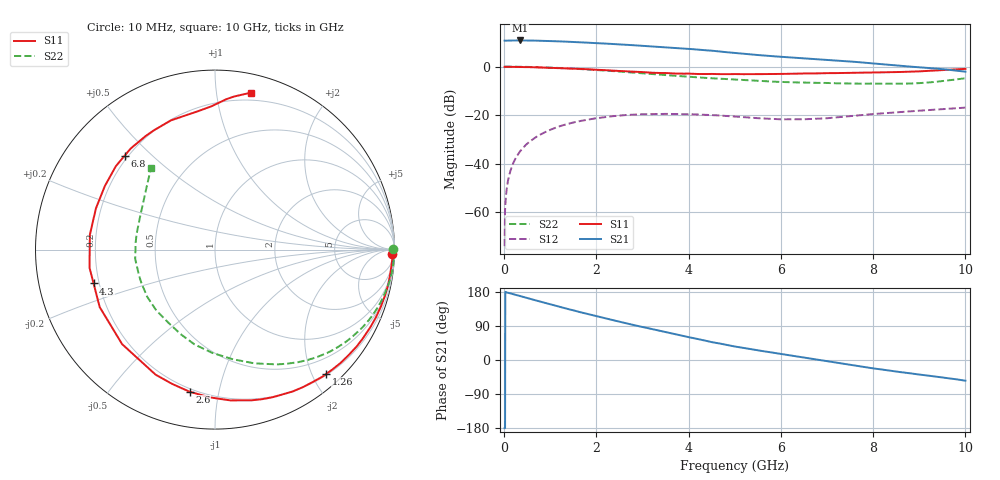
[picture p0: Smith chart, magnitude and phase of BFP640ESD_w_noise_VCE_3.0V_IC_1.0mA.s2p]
! Infineon Technologies  Discrete & RF Semiconductors
! BFP640ESD
! VCE =  3.0 V,  IC =  1.0 mA
! Common Emitter S-Parameters:  Jan 2016
# GHz  S  MA  R  50
!  f  S11  S21  S12  S22
! GHz  MAG  ANG  MAG  ANG  MAG  ANG  MAG  ANG
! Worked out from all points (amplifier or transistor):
!   233 points, 10 MHz to 10 GHz, reference 50 ohm
!   highest |S21| = 10.8 dB at 340 MHz (marker M1)
!   |S21| within 3 dB of that: start of sweep to 3.627 GHz
!   unconditionally stable (mu >= 1): 5.443 GHz to 9.314 GHz
!   at 200 MHz: K = 0.01, MSG = 25.2 dB, |S12| = -39.7 dB
!   at 1.74 GHz: K = 0.17, MSG = 16.0 dB, |S12| = -22.1 dB
!   at 10 GHz: K = 0.65, MSG = 7.4 dB, |S12| = -16.9 dB
!   lowest NFmin = 0.63 dB at 450 MHz
!   S11 on the Smith chart (normalised r, x): 10 MHz: 28, -64; 1.26 GHz: 0.22, -2.22; 2.6 GHz: 0.18, -0.82; 4.3 GHz: 0.18, -0.13; 6.8 GHz: 0.19, +0.41; 10 GHz: 0.14, +1.25
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0.01  0.9888 -1.5  3.435 -179.9  0.0002 -88.1  0.9944 0.1
0.02  0.9863 -1.0  3.411 -179.9  0.0011 82.4  1 -0.3
0.025  0.987 -1.2  3.411 179.8  0.0014 86.4  0.9998 -0.4
0.055  0.9904 -2.2  3.416 178.2  0.003 93.2  0.9986 -1.3
0.08  0.9892 -3.1  3.432 177.5  0.0043 88.5  0.9983 -1.8
0.18  0.9863 -6.8  3.45 174.3  0.0094 85.2  0.9972 -4.0
0.34  0.983 -12.9  3.457 169.0  0.0177 81.2  0.9932 -7.6
0.7  0.9674 -26.7  3.427 156.9  0.0358 72.0  0.9752 -15.4
1.26  0.9294 -48.2  3.294 138.6  0.0613 57.7  0.9305 -27.5
1.68  0.8925 -64.4  3.16 125.3  0.0767 47.5  0.8871 -36.0
2.2  0.8444 -84.2  2.981 109.9  0.0917 36.1  0.8281 -46.1
2.6  0.8045 -100.1  2.836 98.2  0.0999 27.4  0.7776 -53.9
3.4  0.7383 -130.6  2.528 76.3  0.1057 12.7  0.6805 -68.9
4  0.7178 -153.5  2.33 60.3  0.1051 3.9  0.62 -80.6
4.3  0.7022 -164.4  2.196 52.7  0.1024 0.2  0.5905 -87.0
4.5  0.7064 -171.8  2.13 47.2  0.1008 -2.3  0.5753 -91.6
5.1  0.6994 170.7  1.873 33.7  0.0923 -6.2  0.5333 -103.9
6  0.7086 150.0  1.594 15.9  0.0821 -4.6  0.4831 -122.5
6.8  0.7261 133.9  1.412 0.8  0.0847 1.3  0.4624 -140.7
7.6  0.7467 117.2  1.254 -14.2  0.0972 4.5  0.4472 -161.1
8.4  0.7671 101.1  1.078 -28.8  0.1125 2.1  0.4438 174.5
10  0.8976 77.0  0.786 -54.6  0.1429 -7.9  0.5761 128.3
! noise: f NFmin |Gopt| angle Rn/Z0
0.45  0.63  0.83  11  0.4
0.9  0.7  0.75  24  0.39
1.9  0.92  0.61  55  0.31
2.4  1.1  0.54  74  0.29
5.5  1.99  0.47  -156  0.25
